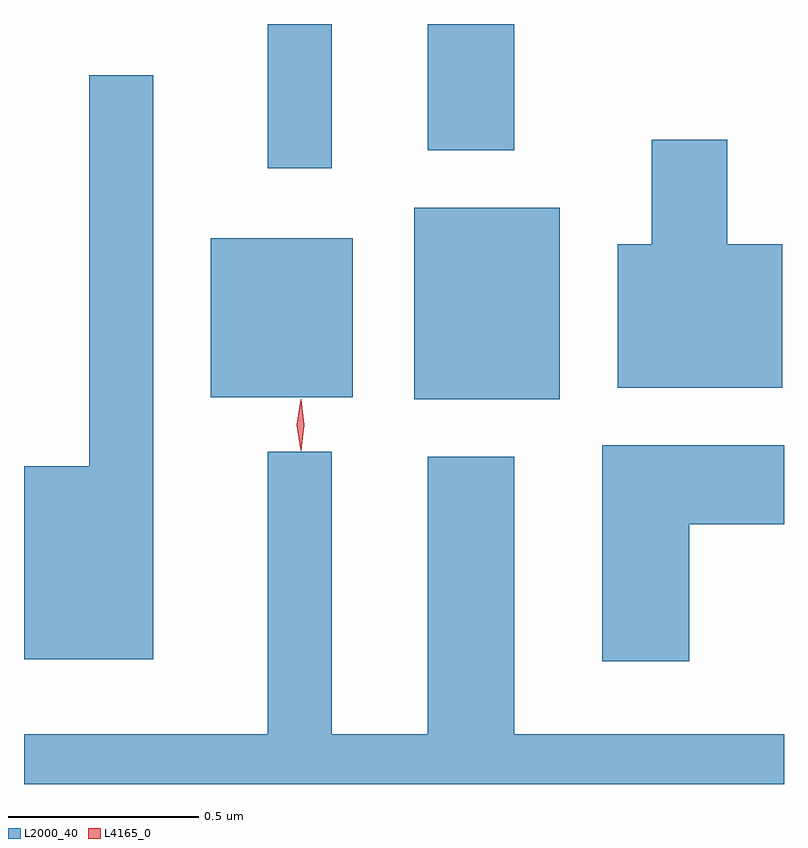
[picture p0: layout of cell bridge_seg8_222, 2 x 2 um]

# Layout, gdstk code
import gdstk
lib = gdstk.Library(unit=1e-6, precision=1e-09)
def R(c, l, rs):  # rectangles x0, y0, x1, y1
    for r in rs: c.add(gdstk.rectangle(r[:2], r[2:], *l))
def P(c, l, *ps):  # polygons
    for p in ps: c.add(gdstk.Polygon(p, *l))
L2000_40 = (2000, 40)
L4165_0 = (4165, 0)

bridge_seg8_222 = lib.new_cell('bridge_seg8_222')
R(bridge_seg8_222, L2000_40, [(1054.446,1941.906,1054.829,1942.409), (1053.911,1941.911,1054.284,1942.329), (1054.061,1942.513,1054.229,1942.893), (1054.481,1942.561,1054.709,1942.893)])
P(bridge_seg8_222, L2000_40, [(1053.759,1942.758),(1053.591,1942.758),(1053.591,1941.729),(1053.419,1941.729),(1053.419,1941.221),(1053.759,1941.221)],
  [(1055.414,1942.314),(1055.269,1942.314),(1055.269,1942.589),(1055.071,1942.589),(1055.071,1942.314),(1054.981,1942.314),(1054.981,1941.936),(1055.414,1941.936)],
  [(1055.169,1941.576),(1055.419,1941.576),(1055.419,1941.784),(1054.941,1941.784),(1054.941,1941.216),(1055.169,1941.216)],
  [(1055.419,1941.024),(1054.709,1941.024),(1054.709,1941.754),(1054.481,1941.754),(1054.481,1941.024),(1054.229,1941.024),(1054.229,1941.768),(1054.061,1941.768),(1054.061,1941.024),(1053.419,1941.024),(1053.419,1940.893),(1055.419,1940.893)])
P(bridge_seg8_222, L4165_0, [(1054.147,1941.773),(1054.147,1941.773),(1054.137,1941.837),(1054.147,1941.901),(1054.147,1941.902),(1054.148,1941.901),(1054.157,1941.837),(1054.148,1941.773)],
  [(1054.147,1941.77),(1054.147,1941.77),(1054.137,1941.838),(1054.147,1941.906),(1054.147,1941.906),(1054.148,1941.906),(1054.157,1941.838),(1054.148,1941.77)])

lib.write_gds('bridge_seg8_222.gds')
